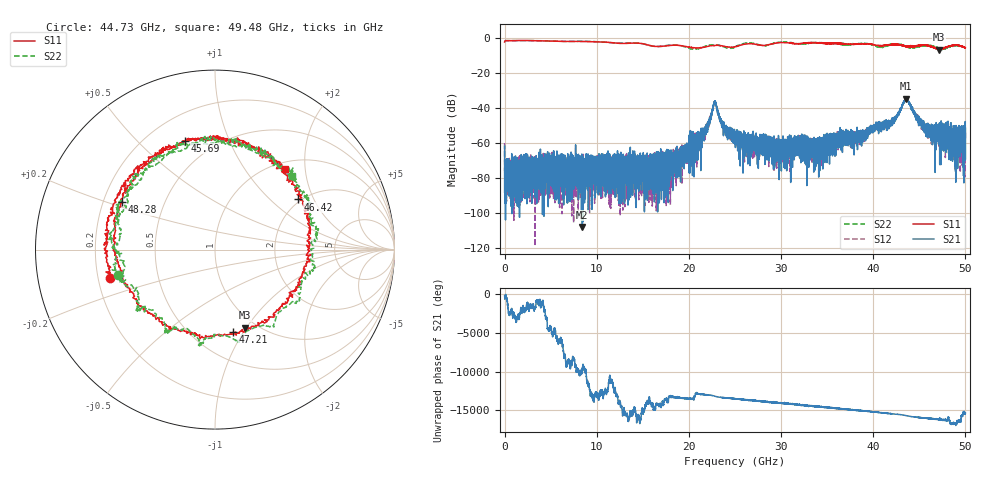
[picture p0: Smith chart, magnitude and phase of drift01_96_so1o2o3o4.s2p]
!Created with skrf (http://scikit-rf.org).
# Hz S RI R 50.0
!freq ReS11 ImS11 ReS21 ImS21 ReS12 ImS12 ReS22 ImS22
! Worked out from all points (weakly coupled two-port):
!   10001 points, 300 kHz to 50 GHz, reference 50 ohm
!   highest |S21| = -34.70 dB at 43.6 GHz (marker M1); lowest = -108.2 dB at 8.435 GHz (marker M2)
!   lowest |S11| = -6.6 dB at 47.15 GHz (marker M3), VSWR 2.75, Z = 44.4 - j49.4 ohm
!   |S11| at or under -10 dB: nowhere
!   |S22| runs from -6.6 to -1.4 dB; largest |S21 - S12| = 0.0038
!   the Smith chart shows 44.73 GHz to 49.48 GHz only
!   S11 on the Smith chart (normalised r, x): 44.73 GHz: 0.25, -0.13; 45.69 GHz: 0.35, +0.70; 46.42 GHz: 1.93, +1.53; 47.21 GHz: 0.77, -0.90; 48.28 GHz: 0.28, +0.22; 49.48 GHz: 1.14, +1.57
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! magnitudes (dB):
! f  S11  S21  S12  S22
! 300 kHz  -2.2  -61.9  -60.1  -2.1
! 255.3 MHz  -1.4  -74.8  -77.9  -1.4
! 865.3 MHz  -1.5  -70.7  -75.5  -1.5
! 8.335 GHz  -1.9  -68.6  -77.5  -1.8
! 8.435 GHz  -1.9  -108.2  -75.9  -1.8
! 16.67 GHz  -4.8  -73.3  -68.0  -4.8
! 20.63 GHz  -5.6  -59.2  -59.4  -6.3
! 21.79 GHz  -5.0  -52.0  -52.1  -4.6
! 22.78 GHz  -4.3  -36.2  -36.5  -4.0
! 25 GHz  -5.0  -55.9  -55.7  -5.1
! 29.47 GHz  -2.8  -63.5  -64.2  -2.6
! 33.34 GHz  -2.6  -66.6  -65.5  -2.6
! 41.67 GHz  -3.9  -47.0  -49.0  -4.4
! 43.6 GHz  -4.8  -34.7  -35.4  -4.8
! 44.73 GHz  -4.4  -45.7  -45.5  -5.0
! 45.69 GHz  -4.0  -52.3  -53.2  -4.4
! 46.42 GHz  -5.3  -61.1  -54.1  -4.6
! 47.15 GHz  -6.6  -51.6  -54.0  -6.2
! 47.21 GHz  -6.6  -63.3  -56.8  -5.9
! 48.28 GHz  -4.7  -61.3  -56.1  -4.9
! 49.48 GHz  -4.5  -55.5  -58.4  -4.5
! 50 GHz  -5.5  -51.5  -53.7  -5.4
